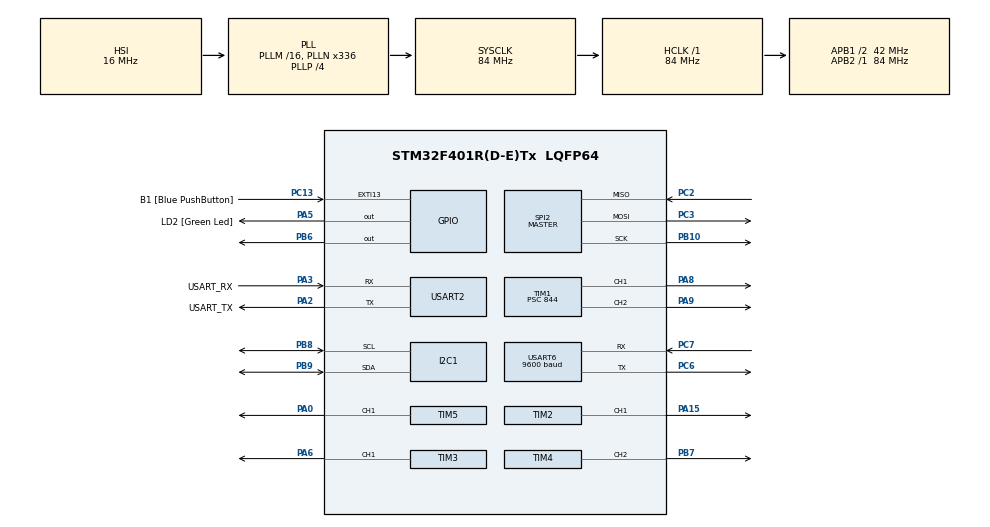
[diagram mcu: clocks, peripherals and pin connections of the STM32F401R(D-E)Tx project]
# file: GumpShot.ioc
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Mcu.Family=STM32F4
Mcu.Name=STM32F401R(D-E)Tx
Mcu.Package=LQFP64
NVIC.PriorityGroup=NVIC_PRIORITYGROUP_2
NVIC.TIM1_BRK_TIM9_IRQn=true\:0\:0\:true\:false\:true\:true\:true\:true
NVIC.TIM3_IRQn=true\:1\:1\:true\:false\:true\:true\:true\:true
NVIC.TIM4_IRQn=true\:1\:0\:true\:false\:true\:true\:true\:true
NVIC.TIM5_IRQn=true\:1\:0\:true\:false\:true\:true\:true\:true
PA0-WKUP.Signal=S_TIM5_CH1
PA13.GPIO_Label=TMS
PA13.Signal=SYS_JTMS-SWDIO
PA14.GPIO_Label=TCK
PA14.Signal=SYS_JTCK-SWCLK
PA15.Signal=S_TIM2_CH1_ETR
PA2.GPIO_Label=USART_TX
PA2.GPIO_Mode=GPIO_MODE_AF_PP
PA2.GPIO_PuPd=GPIO_NOPULL
PA2.GPIO_Speed=GPIO_SPEED_FREQ_LOW
PA2.Mode=Asynchronous
PA2.Signal=USART2_TX
PA3.GPIO_Label=USART_RX
PA3.GPIO_Mode=GPIO_MODE_AF_PP
PA3.GPIO_PuPd=GPIO_NOPULL
PA3.GPIO_Speed=GPIO_SPEED_FREQ_LOW
PA3.Mode=Asynchronous
PA3.Signal=USART2_RX
PA5.GPIO_Label=LD2 [Green Led]
PA5.GPIO_Mode=GPIO_MODE_OUTPUT_PP
PA5.GPIO_PuPd=GPIO_NOPULL
PA5.GPIO_Speed=GPIO_SPEED_FREQ_LOW
PA5.Signal=GPIO_Output
PA6.Signal=S_TIM3_CH1
PA8.Signal=S_TIM1_CH1
PA9.Signal=S_TIM1_CH2
PB10.Mode=Full_Duplex_Master
PB10.Signal=SPI2_SCK
PB3.GPIO_Label=SWO
PB3.Signal=SYS_JTDO-SWO
PB6.GPIO_PuPd=GPIO_PULLUP
PB6.PinState=GPIO_PIN_SET
PB6.Signal=GPIO_Output
PB7.Signal=S_TIM4_CH2
PB8.Mode=I2C
PB8.Signal=I2C1_SCL
PB9.Mode=I2C
PB9.Signal=I2C1_SDA
PC13-ANTI_TAMP.GPIO_Label=B1 [Blue PushButton]
PC13-ANTI_TAMP.GPIO_ModeDefaultEXTI=GPIO_MODE_IT_FALLING
PC13-ANTI_TAMP.GPIO_PuPd=GPIO_NOPULL
PC13-ANTI_TAMP.Signal=GPXTI13
PC14-OSC32_IN.Signal=RCC_OSC32_IN
PC15-OSC32_OUT.Signal=RCC_OSC32_OUT
PC2.Mode=Full_Duplex_Master
PC2.Signal=SPI2_MISO
PC3.Mode=Full_Duplex_Master
PC3.Signal=SPI2_MOSI
PC6.Mode=Asynchronous
PC6.Signal=USART6_TX
PC7.Mode=Asynchronous
PC7.Signal=USART6_RX
PH0\ -\ OSC_IN.Signal=RCC_OSC_IN
PH1\ -\ OSC_OUT.Signal=RCC_OSC_OUT
ProjectManager.HeapSize=0x200
ProjectManager.StackSize=0x400
ProjectManager.TargetToolchain=STM32CubeIDE
RCC.AHBFreq_Value=84000000
RCC.APB1CLKDivider=RCC_HCLK_DIV2
RCC.APB1Freq_Value=42000000
RCC.APB1TimFreq_Value=84000000
RCC.APB2Freq_Value=84000000
RCC.APB2TimFreq_Value=84000000
RCC.CortexFreq_Value=84000000
RCC.HCLKFreq_Value=84000000
RCC.HSE_VALUE=8000000
RCC.HSI_VALUE=16000000
RCC.LSE_VALUE=32768
RCC.PLLN=336
RCC.PLLP=RCC_PLLP_DIV4
RCC.PLLQ=7
RCC.SYSCLKFreq_VALUE=84000000
RCC.SYSCLKSource=RCC_SYSCLKSOURCE_PLLCLK
RCC.VCOOutputFreq_Value=336000000
SH.S_TIM1_CH1.0=TIM1_CH1,PWM Generation1 CH1
SH.S_TIM1_CH2.0=TIM1_CH2,PWM Generation2 CH2
SH.S_TIM2_CH1_ETR.0=TIM2_CH1,PWM Generation1 CH1
SH.S_TIM3_CH1.0=TIM3_CH1,PWM Generation1 CH1
SH.S_TIM4_CH2.0=TIM4_CH2,PWM Generation2 CH2
SH.S_TIM5_CH1.0=TIM5_CH1,PWM Generation1 CH1
SPI2.BaudRatePrescaler=SPI_BAUDRATEPRESCALER_256
SPI2.CLKPhase=SPI_PHASE_2EDGE
SPI2.CLKPolarity=SPI_POLARITY_HIGH
SPI2.Direction=SPI_DIRECTION_2LINES
SPI2.FirstBit=SPI_FIRSTBIT_LSB
SPI2.Mode=SPI_MODE_MASTER
SPI2.VirtualType=VM_MASTER
TIM1.Channel-PWM\ Generation1\ CH1=TIM_CHANNEL_1
TIM1.Channel-PWM\ Generation2\ CH2=TIM_CHANNEL_2
TIM1.Period=1999
TIM1.Prescaler=844
TIM2.Channel-PWM\ Generation1\ CH1=TIM_CHANNEL_1
TIM2.Period=1999
TIM2.Prescaler=844
TIM3.Channel-PWM\ Generation1\ CH1=TIM_CHANNEL_1
TIM3.OCPolarity_1=TIM_OCPOLARITY_LOW
TIM3.Period=30000
TIM3.Prescaler=16799
TIM3.Pulse-PWM\ Generation1\ CH1=29999
TIM4.Channel-PWM\ Generation2\ CH2=TIM_CHANNEL_2
TIM4.Period=1000
TIM4.Prescaler=16799
TIM5.Channel-PWM\ Generation1\ CH1=TIM_CHANNEL_1
TIM5.Period=15000
TIM5.Prescaler=839
USART2.VirtualMode=VM_ASYNC
USART6.BaudRate=9600
USART6.VirtualMode=VM_ASYNC
VP_TIM1_VS_ClockSourceINT.Mode=Internal
VP_TIM2_VS_ClockSourceINT.Mode=Internal
VP_TIM3_VS_ClockSourceINT.Mode=Internal
VP_TIM4_VS_ClockSourceINT.Mode=Internal
VP_TIM5_VS_ClockSourceINT.Mode=Internal
board=NUCLEO-F401RE

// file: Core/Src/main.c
/* USER CODE BEGIN Header */
/**
  ******************************************************************************
  * @file           : main.c
  * @brief          : Main program body
  ******************************************************************************
  * @attention
  *
  * Copyright (c) 2023 STMicroelectronics.
  * All rights reserved.
  *
  * This software is licensed under terms that can be found in the LICENSE file
  * in the root directory of this software component.
  * If no LICENSE file comes with this software, it is provided AS-IS.
  *
  ******************************************************************************
  */
/* USER CODE END Header */
#include "main.h"

/* USER CODE BEGIN Includes */
#include "controller.h"
#include "lcd_i2c.h"
#include "manual.h"
/* USER CODE END Includes */

/* USER CODE BEGIN PD */
#define DEFAULT_MODE 0
#define DEFAULT_SPEED 55
#define DEFAULT_DIRECTION 90
#define DEFAULT_PERIOD 6

/* USER CODE END PD */

I2C_HandleTypeDef hi2c1;

SPI_HandleTypeDef hspi2;

TIM_HandleTypeDef htim1;
TIM_HandleTypeDef htim2;
TIM_HandleTypeDef htim3;
TIM_HandleTypeDef htim4;
TIM_HandleTypeDef htim5;

UART_HandleTypeDef huart2;
UART_HandleTypeDef huart6;

/* USER CODE BEGIN PV */

char data[6];

void HAL_UART_RxCpltCallback(UART_HandleTypeDef *huart) {
	HAL_UART_Receive_DMA(&huart2, data, 3);
}

/* USER CODE END PV */

void SystemClock_Config(void);
static void MX_GPIO_Init(void);
static void MX_I2C1_Init(void);
static void MX_SPI2_Init(void);
static void MX_TIM2_Init(void);
static void MX_TIM5_Init(void);
static void MX_TIM1_Init(void);
static void MX_TIM3_Init(void);
static void MX_USART6_UART_Init(void);
static void MX_USART2_UART_Init(void);
static void MX_TIM4_Init(void);

/* USER CODE BEGIN 0 */
GameConfig gameConfig = {DEFAULT_MODE, DEFAULT_SPEED, DEFAULT_DIRECTION, 0, DEFAULT_PERIOD, 1, 0};
uint8_t lcd_not_ready = 1; // 1 not initialized; 0 initialized;
uint8_t offset_idx = 2;

/* USER CODE END 0 */

int main(void)
{

  /* MCU Configuration--------------------------------------------------------*/

  /* Reset of all peripherals, Initializes the Flash interface and the Systick. */
  HAL_Init();

  /* Configure the system clock */
  SystemClock_Config();

  /* Initialize all configured peripherals */
  MX_GPIO_Init();
  MX_I2C1_Init();
  MX_SPI2_Init();
  MX_TIM2_Init();
  MX_TIM5_Init();
  MX_TIM1_Init();
  MX_TIM3_Init();
  MX_USART6_UART_Init();
  MX_USART2_UART_Init();
  MX_TIM4_Init();
  /* USER CODE BEGIN 2 */
  HAL_TIM_PWM_Start(&htim1, TIM_CHANNEL_1);
  HAL_TIM_PWM_Start(&htim1, TIM_CHANNEL_2);
  HAL_TIM_PWM_Start(&htim2, TIM_CHANNEL_1);
  HAL_TIM_PWM_Start(&htim5, TIM_CHANNEL_1);

  // lcd
  HAL_TIM_IC_Init(&htim5);
  HAL_TIM_IC_Start_IT(&htim5, TIM_CHANNEL_1);
  // shooting
  HAL_TIM_IC_Init(&htim3);
  HAL_TIM_IC_Start_IT(&htim3, TIM_CHANNEL_1);
  // turning
  HAL_TIM_IC_Init(&htim4);
  HAL_TIM_IC_Start_IT(&htim4, TIM_CHANNEL_2);
  lcd_init();

  // Initialize gate for balls
  TIM1->CCR1 = 150;

  ButtonState buttonState = buttonCreate();
  ControllerState controllerState = controllerStateCreate();

  HAL_UART_Receive_DMA(&huart2, data, 3);

  /* USER CODE END 2 */

  /* Infinite loop */
  /* USER CODE BEGIN WHILE */
  while (1)
  {
	  // Reading receive SPI
	  controllerRead(&buttonState, &controllerState, &gameConfig);

	  // if manual mode
	  if (gameConfig.mode == 0) {
		  runManualMode(&controllerState, &gameConfig);
	  }
	  // easy mode
	  else if (gameConfig.mode == 1) {
		  // Reading UART receive
		  HAL_UART_Receive(&huart6, data, 6, 100);

		  // update gameConfig direction
		  readUART(&gameConfig, data);
//		  runEasyMode(&gameConfig);
	  }
	  // hard mode
	  else if (gameConfig.mode == 2) {
		  // Reading UART receive
//		  HAL_UART_Receive(&huart6, data, 6, 100);

//		  readUART(&gameConfig, data);
		  //runHardMode(&gameConfig);
	  }

	  // Setting speed
	  LauncherMotors(gameConfig.speed);

    /* USER CODE END WHILE */

  }
}

void SystemClock_Config(void)
{
  RCC_OscInitTypeDef RCC_OscInitStruct = {0};
  RCC_ClkInitTypeDef RCC_ClkInitStruct = {0};

  /** Configure the main internal regulator output voltage
  */
  __HAL_RCC_PWR_CLK_ENABLE();
  __HAL_PWR_VOLTAGESCALING_CONFIG(PWR_REGULATOR_VOLTAGE_SCALE2);

  /** Initializes the RCC Oscillators according to the specified parameters
  * in the RCC_OscInitTypeDef structure.
  */
  RCC_OscInitStruct.OscillatorType = RCC_OSCILLATORTYPE_HSI;
  RCC_OscInitStruct.HSIState = RCC_HSI_ON;
  RCC_OscInitStruct.HSICalibrationValue = RCC_HSICALIBRATION_DEFAULT;
  RCC_OscInitStruct.PLL.PLLState = RCC_PLL_ON;
  RCC_OscInitStruct.PLL.PLLSource = RCC_PLLSOURCE_HSI;
  RCC_OscInitStruct.PLL.PLLM = 16;
  RCC_OscInitStruct.PLL.PLLN = 336;
  RCC_OscInitStruct.PLL.PLLP = RCC_PLLP_DIV4;
  RCC_OscInitStruct.PLL.PLLQ = 7;
  if (HAL_RCC_OscConfig(&RCC_OscInitStruct) != HAL_OK)
  {
    Error_Handler();
  }

  /** Initializes the CPU, AHB and APB buses clocks
  */
  RCC_ClkInitStruct.ClockType = RCC_CLOCKTYPE_HCLK|RCC_CLOCKTYPE_SYSCLK
                              |RCC_CLOCKTYPE_PCLK1|RCC_CLOCKTYPE_PCLK2;
  RCC_ClkInitStruct.SYSCLKSource = RCC_SYSCLKSOURCE_PLLCLK;
  RCC_ClkInitStruct.AHBCLKDivider = RCC_SYSCLK_DIV1;
  RCC_ClkInitStruct.APB1CLKDivider = RCC_HCLK_DIV2;
  RCC_ClkInitStruct.APB2CLKDivider = RCC_HCLK_DIV1;

  if (HAL_RCC_ClockConfig(&RCC_ClkInitStruct, FLASH_LATENCY_2) != HAL_OK)
  {
    Error_Handler();
  }
}

static void MX_I2C1_Init(void)
{

  hi2c1.Instance = I2C1;
  hi2c1.Init.ClockSpeed = 100000;
  hi2c1.Init.DutyCycle = I2C_DUTYCYCLE_2;
  hi2c1.Init.OwnAddress1 = 0;
  hi2c1.Init.AddressingMode = I2C_ADDRESSINGMODE_7BIT;
  hi2c1.Init.DualAddressMode = I2C_DUALADDRESS_DISABLE;
  hi2c1.Init.OwnAddress2 = 0;
  hi2c1.Init.GeneralCallMode = I2C_GENERALCALL_DISABLE;
  hi2c1.Init.NoStretchMode = I2C_NOSTRETCH_DISABLE;
  if (HAL_I2C_Init(&hi2c1) != HAL_OK)
  {
    Error_Handler();
  }

}

static void MX_SPI2_Init(void)
{

  /* SPI2 parameter configuration*/
  hspi2.Instance = SPI2;
  hspi2.Init.Mode = SPI_MODE_MASTER;
  hspi2.Init.Direction = SPI_DIRECTION_2LINES;
  hspi2.Init.DataSize = SPI_DATASIZE_8BIT;
  hspi2.Init.CLKPolarity = SPI_POLARITY_HIGH;
  hspi2.Init.CLKPhase = SPI_PHASE_2EDGE;
  hspi2.Init.NSS = SPI_NSS_SOFT;
  hspi2.Init.BaudRatePrescaler = SPI_BAUDRATEPRESCALER_256;
  hspi2.Init.FirstBit = SPI_FIRSTBIT_LSB;
  hspi2.Init.TIMode = SPI_TIMODE_DISABLE;
  hspi2.Init.CRCCalculation = SPI_CRCCALCULATION_DISABLE;
  hspi2.Init.CRCPolynomial = 10;
  if (HAL_SPI_Init(&hspi2) != HAL_OK)
  {
    Error_Handler();
  }

}

static void MX_TIM1_Init(void)
{

  TIM_ClockConfigTypeDef sClockSourceConfig = {0};
  TIM_MasterConfigTypeDef sMasterConfig = {0};
  TIM_OC_InitTypeDef sConfigOC = {0};
  TIM_BreakDeadTimeConfigTypeDef sBreakDeadTimeConfig = {0};

  htim1.Instance = TIM1;
  htim1.Init.Prescaler = 844;
  htim1.Init.CounterMode = TIM_COUNTERMODE_UP;
  htim1.Init.Period = 1999;
  htim1.Init.ClockDivision = TIM_CLOCKDIVISION_DIV1;
  htim1.Init.RepetitionCounter = 0;
  htim1.Init.AutoReloadPreload = TIM_AUTORELOAD_PRELOAD_DISABLE;
  if (HAL_TIM_Base_Init(&htim1) != HAL_OK)
  {
    Error_Handler();
  }
  sClockSourceConfig.ClockSource = TIM_CLOCKSOURCE_INTERNAL;
  if (HAL_TIM_ConfigClockSource(&htim1, &sClockSourceConfig) != HAL_OK)
  {
    Error_Handler();
  }
  if (HAL_TIM_PWM_Init(&htim1) != HAL_OK)
  {
    Error_Handler();
  }
  sMasterConfig.MasterOutputTrigger = TIM_TRGO_RESET;
  sMasterConfig.MasterSlaveMode = TIM_MASTERSLAVEMODE_DISABLE;
  if (HAL_TIMEx_MasterConfigSynchronization(&htim1, &sMasterConfig) != HAL_OK)
  {
    Error_Handler();
  }
  sConfigOC.OCMode = TIM_OCMODE_PWM1;
  sConfigOC.Pulse = 0;
  sConfigOC.OCPolarity = TIM_OCPOLARITY_HIGH;
  sConfigOC.OCNPolarity = TIM_OCNPOLARITY_HIGH;
  sConfigOC.OCFastMode = TIM_OCFAST_DISABLE;
  sConfigOC.OCIdleState = TIM_OCIDLESTATE_RESET;
  sConfigOC.OCNIdleState = TIM_OCNIDLESTATE_RESET;
  if (HAL_TIM_PWM_ConfigChannel(&htim1, &sConfigOC, TIM_CHANNEL_1) != HAL_OK)
  {
    Error_Handler();
  }
  if (HAL_TIM_PWM_ConfigChannel(&htim1, &sConfigOC, TIM_CHANNEL_2) != HAL_OK)
  {
    Error_Handler();
  }
  sBreakDeadTimeConfig.OffStateRunMode = TIM_OSSR_DISABLE;
  sBreakDeadTimeConfig.OffStateIDLEMode = TIM_OSSI_DISABLE;
  sBreakDeadTimeConfig.LockLevel = TIM_LOCKLEVEL_OFF;
  sBreakDeadTimeConfig.DeadTime = 0;
  sBreakDeadTimeConfig.BreakState = TIM_BREAK_DISABLE;
  sBreakDeadTimeConfig.BreakPolarity = TIM_BREAKPOLARITY_HIGH;
  sBreakDeadTimeConfig.AutomaticOutput = TIM_AUTOMATICOUTPUT_DISABLE;
  if (HAL_TIMEx_ConfigBreakDeadTime(&htim1, &sBreakDeadTimeConfig) != HAL_OK)
  {
    Error_Handler();
  }
  HAL_TIM_MspPostInit(&htim1);

}

static void MX_TIM2_Init(void)
{

  TIM_ClockConfigTypeDef sClockSourceConfig = {0};
  TIM_MasterConfigTypeDef sMasterConfig = {0};
  TIM_OC_InitTypeDef sConfigOC = {0};

  htim2.Instance = TIM2;
  htim2.Init.Prescaler = 844;
  htim2.Init.CounterMode = TIM_COUNTERMODE_UP;
  htim2.Init.Period = 1999;
  htim2.Init.ClockDivision = TIM_CLOCKDIVISION_DIV1;
  htim2.Init.AutoReloadPreload = TIM_AUTORELOAD_PRELOAD_DISABLE;
  if (HAL_TIM_Base_Init(&htim2) != HAL_OK)
  {
    Error_Handler();
  }
  sClockSourceConfig.ClockSource = TIM_CLOCKSOURCE_INTERNAL;
  if (HAL_TIM_ConfigClockSource(&htim2, &sClockSourceConfig) != HAL_OK)
  {
    Error_Handler();
  }
  if (HAL_TIM_PWM_Init(&htim2) != HAL_OK)
  {
    Error_Handler();
  }
  sMasterConfig.MasterOutputTrigger = TIM_TRGO_RESET;
  sMasterConfig.MasterSlaveMode = TIM_MASTERSLAVEMODE_DISABLE;
  if (HAL_TIMEx_MasterConfigSynchronization(&htim2, &sMasterConfig) != HAL_OK)
  {
    Error_Handler();
  }
  sConfigOC.OCMode = TIM_OCMODE_PWM1;
  sConfigOC.Pulse = 0;
  sConfigOC.OCPolarity = TIM_OCPOLARITY_HIGH;
  sConfigOC.OCFastMode = TIM_OCFAST_DISABLE;
  if (HAL_TIM_PWM_ConfigChannel(&htim2, &sConfigOC, TIM_CHANNEL_1) != HAL_OK)
  {
    Error_Handler();
  }
  HAL_TIM_MspPostInit(&htim2);

}

static void MX_TIM3_Init(void)
{

  TIM_ClockConfigTypeDef sClockSourceConfig = {0};
  TIM_MasterConfigTypeDef sMasterConfig = {0};
  TIM_OC_InitTypeDef sConfigOC = {0};

  htim3.Instance = TIM3;
  htim3.Init.Prescaler = 16799;
  htim3.Init.CounterMode = TIM_COUNTERMODE_UP;
  htim3.Init.Period = 30000;
  htim3.Init.ClockDivision = TIM_CLOCKDIVISION_DIV1;
  htim3.Init.AutoReloadPreload = TIM_AUTORELOAD_PRELOAD_DISABLE;
  if (HAL_TIM_Base_Init(&htim3) != HAL_OK)
  {
    Error_Handler();
  }
  sClockSourceConfig.ClockSource = TIM_CLOCKSOURCE_INTERNAL;
  if (HAL_TIM_ConfigClockSource(&htim3, &sClockSourceConfig) != HAL_OK)
  {
    Error_Handler();
  }
  if (HAL_TIM_PWM_Init(&htim3) != HAL_OK)
  {
    Error_Handler();
  }
  sMasterConfig.MasterOutputTrigger = TIM_TRGO_RESET;
  sMasterConfig.MasterSlaveMode = TIM_MASTERSLAVEMODE_DISABLE;
  if (HAL_TIMEx_MasterConfigSynchronization(&htim3, &sMasterConfig) != HAL_OK)
  {
    Error_Handler();
  }
  sConfigOC.OCMode = TIM_OCMODE_PWM1;
  sConfigOC.Pulse = 29999;
  sConfigOC.OCPolarity = TIM_OCPOLARITY_LOW;
  sConfigOC.OCFastMode = TIM_OCFAST_DISABLE;
  if (HAL_TIM_PWM_ConfigChannel(&htim3, &sConfigOC, TIM_CHANNEL_1) != HAL_OK)
  {
    Error_Handler();
  }
  HAL_TIM_MspPostInit(&htim3);

}

static void MX_TIM4_Init(void)
{

  TIM_ClockConfigTypeDef sClockSourceConfig = {0};
  TIM_MasterConfigTypeDef sMasterConfig = {0};
  TIM_OC_InitTypeDef sConfigOC = {0};

  htim4.Instance = TIM4;
  htim4.Init.Prescaler = 16799;
  htim4.Init.CounterMode = TIM_COUNTERMODE_UP;
  htim4.Init.Period = 1000;
  htim4.Init.ClockDivision = TIM_CLOCKDIVISION_DIV1;
  htim4.Init.AutoReloadPreload = TIM_AUTORELOAD_PRELOAD_DISABLE;
  if (HAL_TIM_Base_Init(&htim4) != HAL_OK)
  {
    Error_Handler();
  }
  sClockSourceConfig.ClockSource = TIM_CLOCKSOURCE_INTERNAL;
  if (HAL_TIM_ConfigClockSource(&htim4, &sClockSourceConfig) != HAL_OK)
  {
    Error_Handler();
  }
  if (HAL_TIM_PWM_Init(&htim4) != HAL_OK)
  {
    Error_Handler();
  }
  sMasterConfig.MasterOutputTrigger = TIM_TRGO_RESET;
  sMasterConfig.MasterSlaveMode = TIM_MASTERSLAVEMODE_DISABLE;
  if (HAL_TIMEx_MasterConfigSynchronization(&htim4, &sMasterConfig) != HAL_OK)
  {
    Error_Handler();
  }
  sConfigOC.OCMode = TIM_OCMODE_PWM1;
  sConfigOC.Pulse = 0;
  sConfigOC.OCPolarity = TIM_OCPOLARITY_HIGH;
  sConfigOC.OCFastMode = TIM_OCFAST_DISABLE;
  if (HAL_TIM_PWM_ConfigChannel(&htim4, &sConfigOC, TIM_CHANNEL_2) != HAL_OK)
  {
    Error_Handler();
  }
  HAL_TIM_MspPostInit(&htim4);

}

static void MX_TIM5_Init(void)
{

  TIM_ClockConfigTypeDef sClockSourceConfig = {0};
  TIM_MasterConfigTypeDef sMasterConfig = {0};
  TIM_OC_InitTypeDef sConfigOC = {0};

  htim5.Instance = TIM5;
  htim5.Init.Prescaler = 839;
  htim5.Init.CounterMode = TIM_COUNTERMODE_UP;
  htim5.Init.Period = 15000;
  htim5.Init.ClockDivision = TIM_CLOCKDIVISION_DIV1;
  htim5.Init.AutoReloadPreload = TIM_AUTORELOAD_PRELOAD_DISABLE;
  if (HAL_TIM_Base_Init(&htim5) != HAL_OK)
  {
    Error_Handler();
  }
  sClockSourceConfig.ClockSource = TIM_CLOCKSOURCE_INTERNAL;
  if (HAL_TIM_ConfigClockSource(&htim5, &sClockSourceConfig) != HAL_OK)
  {
    Error_Handler();
  }
  if (HAL_TIM_PWM_Init(&htim5) != HAL_OK)
  {
    Error_Handler();
  }
  sMasterConfig.MasterOutputTrigger = TIM_TRGO_RESET;
  sMasterConfig.MasterSlaveMode = TIM_MASTERSLAVEMODE_DISABLE;
  if (HAL_TIMEx_MasterConfigSynchronization(&htim5, &sMasterConfig) != HAL_OK)
  {
    Error_Handler();
  }
  sConfigOC.OCMode = TIM_OCMODE_PWM1;
  sConfigOC.Pulse = 0;
  sConfigOC.OCPolarity = TIM_OCPOLARITY_HIGH;
  sConfigOC.OCFastMode = TIM_OCFAST_DISABLE;
  if (HAL_TIM_PWM_ConfigChannel(&htim5, &sConfigOC, TIM_CHANNEL_1) != HAL_OK)
  {
    Error_Handler();
  }
  HAL_TIM_MspPostInit(&htim5);

}

static void MX_USART2_UART_Init(void)
{

  huart2.Instance = USART2;
  huart2.Init.BaudRate = 115200;
  huart2.Init.WordLength = UART_WORDLENGTH_8B;
  huart2.Init.StopBits = UART_STOPBITS_1;
  huart2.Init.Parity = UART_PARITY_NONE;
  huart2.Init.Mode = UART_MODE_TX_RX;
  huart2.Init.HwFlowCtl = UART_HWCONTROL_NONE;
  huart2.Init.OverSampling = UART_OVERSAMPLING_16;
  if (HAL_UART_Init(&huart2) != HAL_OK)
  {
    Error_Handler();
  }

}

static void MX_USART6_UART_Init(void)
{

  huart6.Instance = USART6;
  huart6.Init.BaudRate = 9600;
  huart6.Init.WordLength = UART_WORDLENGTH_8B;
  huart6.Init.StopBits = UART_STOPBITS_1;
  huart6.Init.Parity = UART_PARITY_NONE;
  huart6.Init.Mode = UART_MODE_TX_RX;
  huart6.Init.HwFlowCtl = UART_HWCONTROL_NONE;
  huart6.Init.OverSampling = UART_OVERSAMPLING_16;
  if (HAL_UART_Init(&huart6) != HAL_OK)
  {
    Error_Handler();
  }

}

static void MX_GPIO_Init(void)
{
  GPIO_InitTypeDef GPIO_InitStruct = {0};

  /* GPIO Ports Clock Enable */
  __HAL_RCC_GPIOC_CLK_ENABLE();
  __HAL_RCC_GPIOH_CLK_ENABLE();
  __HAL_RCC_GPIOA_CLK_ENABLE();
  __HAL_RCC_GPIOB_CLK_ENABLE();

  /*Configure GPIO pin Output Level */
  HAL_GPIO_WritePin(LD2_GPIO_Port, LD2_Pin, GPIO_PIN_RESET);

  /*Configure GPIO pin Output Level */
  HAL_GPIO_WritePin(GPIOB, GPIO_PIN_6, GPIO_PIN_SET);

  /*Configure GPIO pin : B1_Pin */
  GPIO_InitStruct.Pin = B1_Pin;
  GPIO_InitStruct.Mode = GPIO_MODE_IT_FALLING;
  GPIO_InitStruct.Pull = GPIO_NOPULL;
  HAL_GPIO_Init(B1_GPIO_Port, &GPIO_InitStruct);

  /*Configure GPIO pin : LD2_Pin */
  GPIO_InitStruct.Pin = LD2_Pin;
  GPIO_InitStruct.Mode = GPIO_MODE_OUTPUT_PP;
  GPIO_InitStruct.Pull = GPIO_NOPULL;
  GPIO_InitStruct.Speed = GPIO_SPEED_FREQ_LOW;
  HAL_GPIO_Init(LD2_GPIO_Port, &GPIO_InitStruct);

  /*Configure GPIO pin : PB6 */
  GPIO_InitStruct.Pin = GPIO_PIN_6;
  GPIO_InitStruct.Mode = GPIO_MODE_OUTPUT_PP;
  GPIO_InitStruct.Pull = GPIO_PULLUP;
  GPIO_InitStruct.Speed = GPIO_SPEED_FREQ_LOW;
  HAL_GPIO_Init(GPIOB, &GPIO_InitStruct);

}

/* USER CODE BEGIN 4 */
void LockingServo(){
	TIM1->CCR1 = 70;
	HAL_Delay(400);
	TIM1->CCR1 = 150;
}

void Rotate(uint32_t degrees) {
	if (degrees > 135) {
		degrees = 135;
	}
	if (degrees < 45) {
		degrees = 45;
	}

	TIM1->CCR2 = (((degrees * 5) / 4) + 75);
}

void LauncherMotors(uint32_t power) {
	TIM2->CCR1 = power * 20;
	// Limit max power by dividing by a number.
}

/* USER CODE END 4 */

void Error_Handler(void)
{
  __disable_irq();
  while (1)
  {
  }
}
